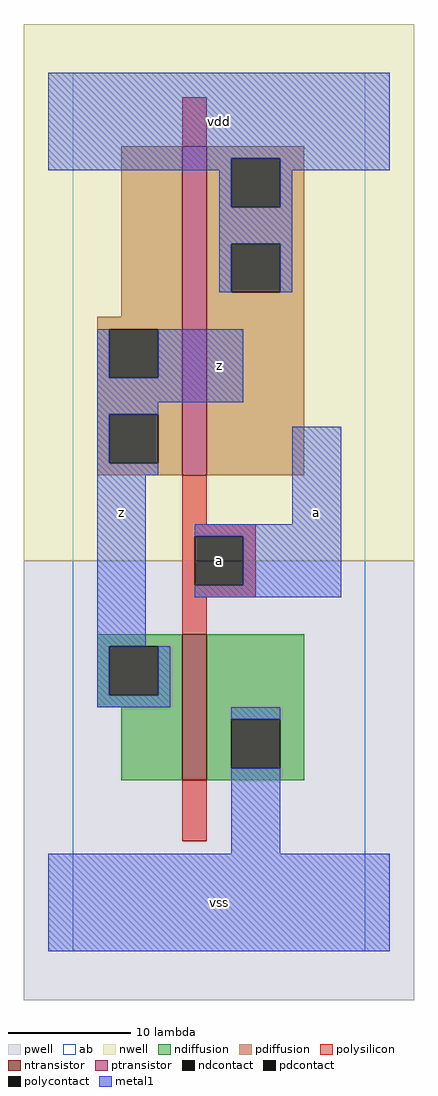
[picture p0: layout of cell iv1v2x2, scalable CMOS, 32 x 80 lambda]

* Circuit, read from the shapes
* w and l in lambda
.subckt iv1v2x2 a vdd vss z
M1 vss a z VSUBS nfet w=12 l=2
M2 vdd a z n1 pfet w=27 l=2
.ends

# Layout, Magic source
magic
tech scmos
<< ab >>
rect 0 0 24 72
<< pwell >>
rect -4 -4 28 32
<< nwell >>
rect -4 32 28 76
<< polysilicon >>
rect 9 66 11 70
rect 9 35 11 39
rect 9 34 15 35
rect 9 30 10 34
rect 14 30 15 34
rect 9 29 15 30
rect 9 26 11 29
rect 9 9 11 14
<< ndiffusion >>
rect 2 25 9 26
rect 2 21 3 25
rect 7 21 9 25
rect 2 20 9 21
rect 4 14 9 20
rect 11 19 19 26
rect 11 15 13 19
rect 17 15 19 19
rect 11 14 19 15
<< pdiffusion >>
rect 4 52 9 66
rect 2 51 9 52
rect 2 47 3 51
rect 7 47 9 51
rect 2 44 9 47
rect 2 40 3 44
rect 7 40 9 44
rect 2 39 9 40
rect 11 65 19 66
rect 11 61 13 65
rect 17 61 19 65
rect 11 58 19 61
rect 11 54 13 58
rect 17 54 19 58
rect 11 39 19 54
<< metal1 >>
rect -2 65 26 72
rect -2 64 13 65
rect 12 61 13 64
rect 17 64 26 65
rect 17 61 18 64
rect 12 58 18 61
rect 12 54 13 58
rect 17 54 18 58
rect 2 47 3 51
rect 7 47 14 51
rect 2 45 14 47
rect 2 44 7 45
rect 2 40 3 44
rect 2 39 7 40
rect 2 25 6 39
rect 18 35 22 43
rect 10 34 22 35
rect 14 30 22 34
rect 10 29 22 30
rect 2 21 3 25
rect 7 21 8 25
rect 2 20 8 21
rect 13 19 17 20
rect 13 8 17 15
rect -2 0 26 8
<< ntransistor >>
rect 9 14 11 26
<< ptransistor >>
rect 9 39 11 66
<< polycontact >>
rect 10 30 14 34
<< ndcontact >>
rect 3 21 7 25
rect 13 15 17 19
<< pdcontact >>
rect 3 47 7 51
rect 3 40 7 44
rect 13 61 17 65
rect 13 54 17 58
<< labels >>
rlabel metal1 4 36 4 36 6 z
rlabel metal1 12 4 12 4 6 vss
rlabel polycontact 12 32 12 32 6 a
rlabel metal1 12 48 12 48 6 z
rlabel metal1 12 68 12 68 6 vdd
rlabel metal1 20 36 20 36 6 a
<< end >>
